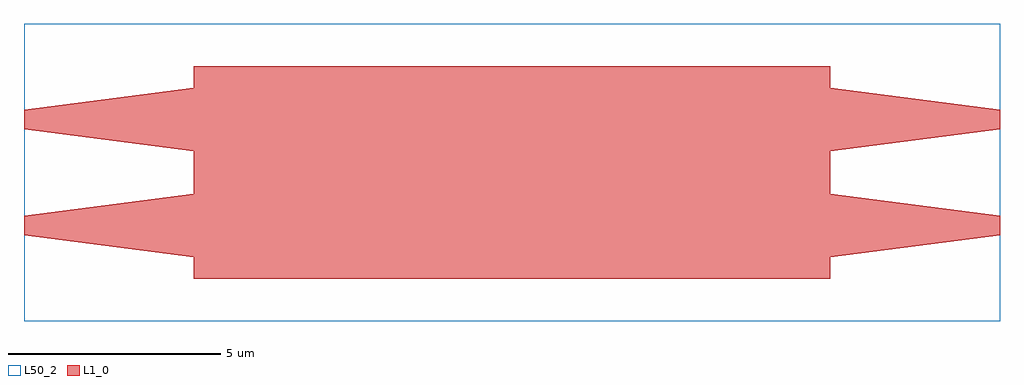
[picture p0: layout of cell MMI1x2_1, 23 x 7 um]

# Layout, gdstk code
import gdstk
lib = gdstk.Library(unit=1e-6, precision=1e-09)
def R(c, l, rs):  # rectangles x0, y0, x1, y1
    for r in rs: c.add(gdstk.rectangle(r[:2], r[2:], *l))
def P(c, l, *ps):  # polygons
    for p in ps: c.add(gdstk.Polygon(p, *l))
L1_0 = (1, 0)
L50_2 = (50, 2)

mmi1x2_1 = lib.new_cell('MMI1x2_1')
R(mmi1x2_1, L1_0, [(0,-2.5,15,2.5)])
P(mmi1x2_1, L1_0, [(-4,-1.475),(-4,-1.025),(0,-0.5),(0,-2)],
  [(-4,1.025),(-4,1.475),(0,2),(0,0.5)],
  [(15,0.5),(15,2),(19,1.475),(19,1.025)],
  [(15,-2),(15,-0.5),(19,-1.025),(19,-1.475)])
R(mmi1x2_1, L50_2, [(-4,-3.5,19,3.5)])

lib.write_gds('MMI1x2_1.gds')
